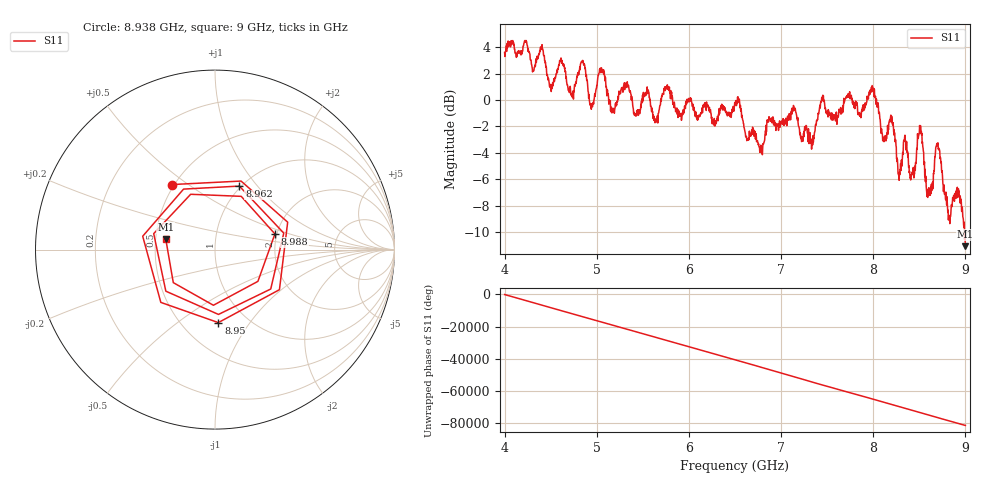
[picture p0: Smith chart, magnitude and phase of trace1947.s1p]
! Created with skrf 1.8.0 (http://scikit-rf.org).
# Hz S RI R 50.0
!freq ReS11 ImS11
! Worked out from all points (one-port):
!   1601 points, 4 GHz to 9 GHz, reference 50 ohm
!   lowest |S11| = -11.1 dB at 9 GHz (marker M1), VSWR 1.78, Z = 28.3 + j3.55 ohm
!   |S11| at or under -10 dB: 8.989763 GHz to end of sweep
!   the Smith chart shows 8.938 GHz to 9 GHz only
!   S11 on the Smith chart (normalised r, x): 8.938 GHz: 0.49, +0.43; 8.95 GHz: 0.74, -0.72; 8.962 GHz: 0.98, +0.81; 8.988 GHz: 1.95, +0.39; 9 GHz: 0.57, +0.07
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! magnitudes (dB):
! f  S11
! 4 GHz  3.6
! 4.625 GHz  2.8
! 4.728 GHz  0.3
! 4.85 GHz  2.8
! 4.944 GHz  -0.3
! 5.05 GHz  2.4
! 5.169 GHz  -0.9
! 5.25 GHz  0.6
! 5.875 GHz  -1.1
! 6.5 GHz  -0.4
! 6.778 GHz  -3.9
! 7.125 GHz  -0.6
! 7.328 GHz  -3.2
! 7.444 GHz  -0.1
! 7.75 GHz  0.1
! 7.991 GHz  1.0
! 8.278 GHz  -5.7
! 8.375 GHz  -4.3
! 8.431 GHz  -5.2
! 8.506 GHz  -2.1
! 8.6 GHz  -7.1
! 8.697 GHz  -3.3
! 8.819 GHz  -8.7
! 8.938 GHz  -7.2
! 8.95 GHz  -7.8
! 8.962 GHz  -8.4
! 8.988 GHz  -9.2
! 9 GHz  -11.1
